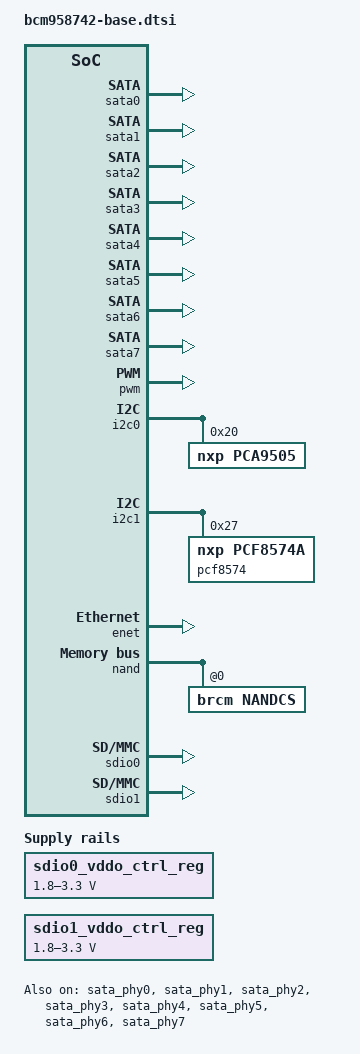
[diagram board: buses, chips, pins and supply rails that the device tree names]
/*
 *  BSD LICENSE
 *
 *  Copyright(c) 2016-2017 Broadcom.  All rights reserved.
 *
 *  Redistribution and use in source and binary forms, with or without
 *  modification, are permitted provided that the following conditions
 *  are met:
 *
 *    * Redistributions of source code must retain the above copyright
 *      notice, this list of conditions and the following disclaimer.
 *    * Redistributions in binary form must reproduce the above copyright
 *      notice, this list of conditions and the following disclaimer in
 *      the documentation and/or other materials provided with the
 *      distribution.
 *    * Neither the name of Broadcom nor the names of its
 *      contributors may be used to endorse or promote products derived
 *      from this software without specific prior written permission.
 *
 *  THIS SOFTWARE IS PROVIDED BY THE COPYRIGHT HOLDERS AND CONTRIBUTORS
 *  "AS IS" AND ANY EXPRESS OR IMPLIED WARRANTIES, INCLUDING, BUT NOT
 *  LIMITED TO, THE IMPLIED WARRANTIES OF MERCHANTABILITY AND FITNESS FOR
 *  A PARTICULAR PURPOSE ARE DISCLAIMED. IN NO EVENT SHALL THE COPYRIGHT
 *  OWNER OR CONTRIBUTORS BE LIABLE FOR ANY DIRECT, INDIRECT, INCIDENTAL,
 *  SPECIAL, EXEMPLARY, OR CONSEQUENTIAL DAMAGES (INCLUDING, BUT NOT
 *  LIMITED TO, PROCUREMENT OF SUBSTITUTE GOODS OR SERVICES; LOSS OF USE,
 *  DATA, OR PROFITS; OR BUSINESS INTERRUPTION) HOWEVER CAUSED AND ON ANY
 *  THEORY OF LIABILITY, WHETHER IN CONTRACT, STRICT LIABILITY, OR TORT
 *  (INCLUDING NEGLIGENCE OR OTHERWISE) ARISING IN ANY WAY OUT OF THE USE
 *  OF THIS SOFTWARE, EVEN IF ADVISED OF THE POSSIBILITY OF SUCH DAMAGE.
 */

#include "stingray-board-base.dtsi"

/ {
	sdio0_vddo_ctrl_reg: sdio0_vddo_ctrl {
		compatible = "regulator-gpio";
		regulator-name = "sdio0_vddo_ctrl_reg";
		regulator-type = "voltage";
		regulator-min-microvolt = <1800000>;
		regulator-max-microvolt = <3300000>;
		gpios = <&pca9505 18 0>;
		states = <3300000 0x0
			  1800000 0x1>;
	};

	sdio1_vddo_ctrl_reg: sdio1_vddo_ctrl {
		compatible = "regulator-gpio";
		regulator-name = "sdio1_vddo_ctrl_reg";
		regulator-type = "voltage";
		regulator-min-microvolt = <1800000>;
		regulator-max-microvolt = <3300000>;
		gpios = <&pca9505 19 0>;
		states = <3300000 0x0
			  1800000 0x1>;
	};
};

&sata0 {
	status = "okay";
};

&sata_phy0{
	status = "okay";
};

&sata1 {
	status = "okay";
};

&sata_phy1{
	status = "okay";
};

&sata2 {
	status = "okay";
};

&sata_phy2{
	status = "okay";
};

&sata3 {
	status = "okay";
};

&sata_phy3{
	status = "okay";
};

&sata4 {
	status = "okay";
};

&sata_phy4{
	status = "okay";
};

&sata5 {
	status = "okay";
};

&sata_phy5{
	status = "okay";
};

&sata6 {
	status = "okay";
};

&sata_phy6{
	status = "okay";
};

&sata7 {
	status = "okay";
};

&sata_phy7{
	status = "okay";
};

&pwm {
	status = "okay";
};

&i2c0 {
	status = "okay";

	pca9505: pca9505@20 {
		compatible = "nxp,pca9505";
		gpio-controller;
		#gpio-cells = <2>;
		reg = <0x20>;
	};
};

&i2c1 {
	status = "okay";

	pcf8574: pcf8574@20 {
		compatible = "nxp,pcf8574a";
		gpio-controller;
		#gpio-cells = <2>;
		reg = <0x27>;
	};
};

&enet {
	status = "okay";
};

&nand {
	status = "ok";
	nandcs@0 {
		compatible = "brcm,nandcs";
		reg = <0>;
		nand-ecc-mode = "hw";
		nand-ecc-strength = <8>;
		nand-ecc-step-size = <512>;
		nand-bus-width = <16>;
		brcm,nand-oob-sector-size = <16>;
		#address-cells = <1>;
		#size-cells = <1>;
	};
};

&sdio0 {
	vqmmc-supply = <&sdio0_vddo_ctrl_reg>;
	status = "okay";
};

&sdio1 {
	vqmmc-supply = <&sdio1_vddo_ctrl_reg>;
	status = "okay";
};
